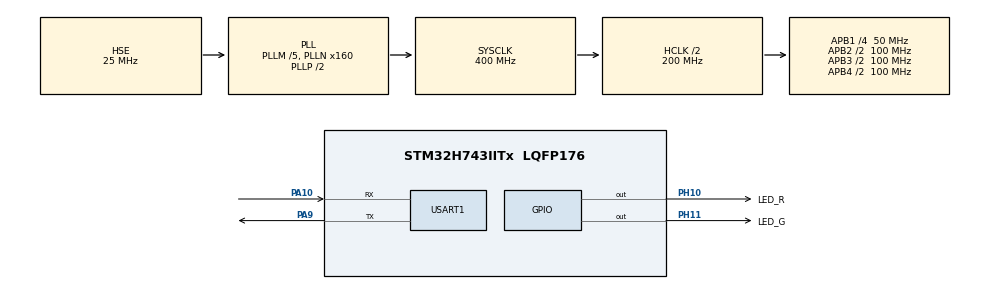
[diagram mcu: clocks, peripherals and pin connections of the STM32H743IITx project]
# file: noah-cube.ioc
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CORTEX_M7.default_mode_Activation=1
Mcu.Family=STM32H7
Mcu.Name=STM32H743IITx
Mcu.Package=LQFP176
NVIC.PriorityGroup=NVIC_PRIORITYGROUP_4
NVIC.USART1_IRQn=true\:0\:0\:false\:false\:true\:true\:true\:true
PA10.GPIO_ModeDefaultPP=GPIO_MODE_AF_PP
PA10.Mode=Asynchronous
PA10.Signal=USART1_RX
PA9.GPIO_ModeDefaultPP=GPIO_MODE_AF_OD
PA9.GPIO_PuPd=GPIO_NOPULL
PA9.Mode=Asynchronous
PA9.Signal=USART1_TX
PH0-OSC_IN\ (PH0).Mode=HSE-External-Oscillator
PH0-OSC_IN\ (PH0).Signal=RCC_OSC_IN
PH1-OSC_OUT\ (PH1).Mode=HSE-External-Oscillator
PH1-OSC_OUT\ (PH1).Signal=RCC_OSC_OUT
PH10.GPIO_Label=LED_R
PH10.GPIO_ModeDefaultOutputPP=GPIO_MODE_OUTPUT_PP
PH10.GPIO_PuPd=GPIO_NOPULL
PH10.GPIO_Speed=GPIO_SPEED_FREQ_HIGH
PH10.PinState=GPIO_PIN_SET
PH10.Signal=GPIO_Output
PH11.GPIO_Label=LED_G
PH11.GPIO_ModeDefaultOutputPP=GPIO_MODE_OUTPUT_PP
PH11.GPIO_PuPd=GPIO_NOPULL
PH11.GPIO_Speed=GPIO_SPEED_FREQ_HIGH
PH11.PinState=GPIO_PIN_SET
PH11.Signal=GPIO_Output
ProjectManager.HeapSize=0x200
ProjectManager.StackSize=0x400
ProjectManager.TargetToolchain=MDK-ARM V5.32
RCC.ADCFreq_Value=50390625
RCC.APB1Freq_Value=50000000
RCC.APB2Freq_Value=100000000
RCC.APB3Freq_Value=100000000
RCC.APB4Freq_Value=100000000
RCC.CortexFreq_Value=400000000
RCC.D1PPRE=RCC_APB3_DIV2
RCC.D2PPRE1=RCC_APB1_DIV4
RCC.D2PPRE2=RCC_APB2_DIV2
RCC.D3PPRE=RCC_APB4_DIV2
RCC.DIVM1=5
RCC.DIVN1=160
RCC.HCLKFreq_Value=200000000
RCC.HPRE=RCC_HCLK_DIV2
RCC.HSE_VALUE=25000000
RCC.PLLSourceVirtual=RCC_PLLSOURCE_HSE
RCC.SYSCLKFreq_VALUE=400000000
RCC.SYSCLKSource=RCC_SYSCLKSOURCE_PLLCLK
RCC.USBFreq_Value=400000000
USART1.OneBitSampling=UART_ONE_BIT_SAMPLE_DISABLE
USART1.RXFIFOThreshold=RXFIFO_THRESHOLD_7EIGHTHFULL
USART1.TXFIFOThreshold=TXFIFO_THRESHOLD_7EIGHTHFULL
USART1.VirtualMode-Asynchronous=VM_ASYNC
board=custom

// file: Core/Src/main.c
/* USER CODE BEGIN Header */
/**
  ******************************************************************************
  * @file           : main.c
  * @brief          : Main program body
  ******************************************************************************
  * @attention
  *
  * Copyright (c) 2024 STMicroelectronics.
  * All rights reserved.
  *
  * This software is licensed under terms that can be found in the LICENSE file
  * in the root directory of this software component.
  * If no LICENSE file comes with this software, it is provided AS-IS.
  *
  ******************************************************************************
  */
/* USER CODE END Header */
#include "main.h"

/* USER CODE BEGIN Includes */
#include "noah_led.h"
#include "stdio.h"
/* USER CODE END Includes */

/* USER CODE BEGIN PTD */
#define BUFFERSIZE 256
/* USER CODE END PTD */

/* USER CODE BEGIN PD */
char message[BUFFERSIZE] = "Hello World!";
int num = 0;
/* USER CODE END PD */

UART_HandleTypeDef huart1;

/* USER CODE BEGIN PV */

/// @brief Called after Transmatting_IT.
/// @param huart
void HAL_UART_TxCpltCallback(UART_HandleTypeDef *huart){
  if(huart == &huart1){
    //num++;
  }
}

/// @brief Redirection output to usart.
/// @param ch
/// @param f
/// @return
int fputc(int ch, FILE*f){
  HAL_UART_Transmit(&huart1,(uint8_t*)&ch,1, 0xffff); // block
  return ch;
}

/// @brief
/// @param f
/// @return
int fgetc(FILE*f){
  uint8_t ch = 0;
  HAL_UART_Receive(&huart1,&ch, 1, 0xffff); // block
  return ch;
}
/* USER CODE END PV */

void SystemClock_Config(void);
static void MPU_Config(void);
static void MX_GPIO_Init(void);
static void MX_USART1_UART_Init(void);

/* USER CODE BEGIN 0 */

//HAL_UART_IRQHandler()
/* USER CODE END 0 */

int main(void)
{

  /* MPU Configuration--------------------------------------------------------*/
  MPU_Config();

  /* MCU Configuration--------------------------------------------------------*/

  /* Reset of all peripherals, Initializes the Flash interface and the Systick. */
  HAL_Init();

  /* Configure the system clock */
  SystemClock_Config();

  /* Initialize all configured peripherals */
  MX_GPIO_Init();
  MX_USART1_UART_Init();

  /* Infinite loop */
  while (1)
  {
    /* USER CODE BEGIN 3 */
    HAL_Delay(50);
    num++;
    HAL_UART_Transmit_IT(&huart1, (uint8_t*)&num, 1);
/*     HAL_Delay(1000);
    printf("test successfully!%d\n", num); */
    // HAL_UART_Transmit()
  }
  /* USER CODE END 3 */
}

void SystemClock_Config(void)
{
  RCC_OscInitTypeDef RCC_OscInitStruct = {0};
  RCC_ClkInitTypeDef RCC_ClkInitStruct = {0};

  /** Supply configuration update enable
  */
  HAL_PWREx_ConfigSupply(PWR_LDO_SUPPLY);

  /** Configure the main internal regulator output voltage
  */
  __HAL_PWR_VOLTAGESCALING_CONFIG(PWR_REGULATOR_VOLTAGE_SCALE1);

  while(!__HAL_PWR_GET_FLAG(PWR_FLAG_VOSRDY)) {}

  /** Initializes the RCC Oscillators according to the specified parameters
  * in the RCC_OscInitTypeDef structure.
  */
  RCC_OscInitStruct.OscillatorType = RCC_OSCILLATORTYPE_HSE;
  RCC_OscInitStruct.HSEState = RCC_HSE_ON;
  RCC_OscInitStruct.PLL.PLLState = RCC_PLL_ON;
  RCC_OscInitStruct.PLL.PLLSource = RCC_PLLSOURCE_HSE;
  RCC_OscInitStruct.PLL.PLLM = 5;
  RCC_OscInitStruct.PLL.PLLN = 160;
  RCC_OscInitStruct.PLL.PLLP = 2;
  RCC_OscInitStruct.PLL.PLLQ = 2;
  RCC_OscInitStruct.PLL.PLLR = 2;
  RCC_OscInitStruct.PLL.PLLRGE = RCC_PLL1VCIRANGE_2;
  RCC_OscInitStruct.PLL.PLLVCOSEL = RCC_PLL1VCOWIDE;
  RCC_OscInitStruct.PLL.PLLFRACN = 0;
  if (HAL_RCC_OscConfig(&RCC_OscInitStruct) != HAL_OK)
  {
    Error_Handler();
  }

  /** Initializes the CPU, AHB and APB buses clocks
  */
  RCC_ClkInitStruct.ClockType = RCC_CLOCKTYPE_HCLK|RCC_CLOCKTYPE_SYSCLK
                              |RCC_CLOCKTYPE_PCLK1|RCC_CLOCKTYPE_PCLK2
                              |RCC_CLOCKTYPE_D3PCLK1|RCC_CLOCKTYPE_D1PCLK1;
  RCC_ClkInitStruct.SYSCLKSource = RCC_SYSCLKSOURCE_PLLCLK;
  RCC_ClkInitStruct.SYSCLKDivider = RCC_SYSCLK_DIV1;
  RCC_ClkInitStruct.AHBCLKDivider = RCC_HCLK_DIV2;
  RCC_ClkInitStruct.APB3CLKDivider = RCC_APB3_DIV2;
  RCC_ClkInitStruct.APB1CLKDivider = RCC_APB1_DIV4;
  RCC_ClkInitStruct.APB2CLKDivider = RCC_APB2_DIV2;
  RCC_ClkInitStruct.APB4CLKDivider = RCC_APB4_DIV2;

  if (HAL_RCC_ClockConfig(&RCC_ClkInitStruct, FLASH_LATENCY_2) != HAL_OK)
  {
    Error_Handler();
  }
}

static void MX_USART1_UART_Init(void)
{

  huart1.Instance = USART1;
  huart1.Init.BaudRate = 115200;
  huart1.Init.WordLength = UART_WORDLENGTH_8B;
  huart1.Init.StopBits = UART_STOPBITS_1;
  huart1.Init.Parity = UART_PARITY_NONE;
  huart1.Init.Mode = UART_MODE_TX_RX;
  huart1.Init.HwFlowCtl = UART_HWCONTROL_NONE;
  huart1.Init.OverSampling = UART_OVERSAMPLING_16;
  huart1.Init.OneBitSampling = UART_ONE_BIT_SAMPLE_DISABLE;
  huart1.Init.ClockPrescaler = UART_PRESCALER_DIV1;
  huart1.AdvancedInit.AdvFeatureInit = UART_ADVFEATURE_NO_INIT;
  if (HAL_UART_Init(&huart1) != HAL_OK)
  {
    Error_Handler();
  }
  if (HAL_UARTEx_SetTxFifoThreshold(&huart1, UART_TXFIFO_THRESHOLD_7_8) != HAL_OK)
  {
    Error_Handler();
  }
  if (HAL_UARTEx_SetRxFifoThreshold(&huart1, UART_RXFIFO_THRESHOLD_7_8) != HAL_OK)
  {
    Error_Handler();
  }
  if (HAL_UARTEx_DisableFifoMode(&huart1) != HAL_OK)
  {
    Error_Handler();
  }

}

static void MX_GPIO_Init(void)
{
  GPIO_InitTypeDef GPIO_InitStruct = {0};

  /* GPIO Ports Clock Enable */
  __HAL_RCC_GPIOH_CLK_ENABLE();
  __HAL_RCC_GPIOA_CLK_ENABLE();

  /*Configure GPIO pin Output Level */
  HAL_GPIO_WritePin(GPIOH, LED_R_Pin|LED_G_Pin, GPIO_PIN_SET);

  /*Configure GPIO pins : LED_R_Pin LED_G_Pin */
  GPIO_InitStruct.Pin = LED_R_Pin|LED_G_Pin;
  GPIO_InitStruct.Mode = GPIO_MODE_OUTPUT_PP;
  GPIO_InitStruct.Pull = GPIO_NOPULL;
  GPIO_InitStruct.Speed = GPIO_SPEED_FREQ_HIGH;
  HAL_GPIO_Init(GPIOH, &GPIO_InitStruct);

}

 /* MPU Configuration */

void MPU_Config(void)
{
  MPU_Region_InitTypeDef MPU_InitStruct = {0};

  /* Disables the MPU */
  HAL_MPU_Disable();

  /** Initializes and configures the Region and the memory to be protected
  */
  MPU_InitStruct.Enable = MPU_REGION_ENABLE;
  MPU_InitStruct.Number = MPU_REGION_NUMBER0;
  MPU_InitStruct.BaseAddress = 0x0;
  MPU_InitStruct.Size = MPU_REGION_SIZE_4GB;
  MPU_InitStruct.SubRegionDisable = 0x87;
  MPU_InitStruct.TypeExtField = MPU_TEX_LEVEL0;
  MPU_InitStruct.AccessPermission = MPU_REGION_NO_ACCESS;
  MPU_InitStruct.DisableExec = MPU_INSTRUCTION_ACCESS_DISABLE;
  MPU_InitStruct.IsShareable = MPU_ACCESS_SHAREABLE;
  MPU_InitStruct.IsCacheable = MPU_ACCESS_NOT_CACHEABLE;
  MPU_InitStruct.IsBufferable = MPU_ACCESS_NOT_BUFFERABLE;

  HAL_MPU_ConfigRegion(&MPU_InitStruct);
  /* Enables the MPU */
  HAL_MPU_Enable(MPU_PRIVILEGED_DEFAULT);

}

void Error_Handler(void)
{
  __disable_irq();
  while (1)
  {
  }
}
